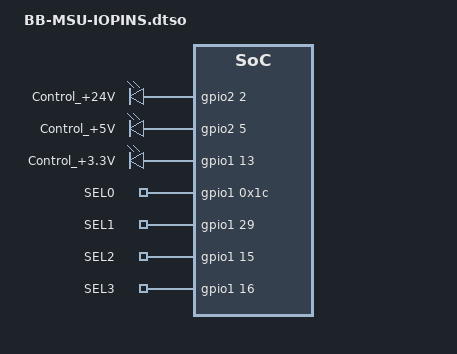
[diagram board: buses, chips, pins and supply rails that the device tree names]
// SPDX-License-Identifier: GPL-2.0-only
/*
 * Copyright (C) 2015 Robert Nelson <robertcnelson@gmail.com>
 * Copyright (C) 2019 Amilcar Lucas <amilcar.lucas@iav.de>
 * Copyright (c) 2026 David Dudley <dudleyd@frib.msu.edu>
 * Revisions:
 * 1. Started as io-pins
 * 2. Convert to Fragment format
 * 3. Incorporate new I/O pins structure
 *
 *  *
 * DT Overlay for GPIOs
 * P8.07 (24VON) [AD24],
 * P8.09 (5VON) [AE24],
 * P8.11 (3V3ON) [AB24],
 * P8.15 (SEL2) [AB29],
 * P8.26 (SEL1) [AC27],
 * P9.12 (SEL0) [AE27],
 * & P9.15 (SEL3) [AD25],
 *  GPIOs are enabled with this overlay.
 * Make sure the IO pins you are enabling are not being used by any other overlay.
 *
 * In addition, the SPI channels that are needed will eventually be incorporated into this
 *
 * SPI Definitions as defined in this overlay
 *
 * SPI0 - no clk or d0 pins.
 *  spi0.d1 = P9.17(0)
 *  spi0.cs0 = P8.33(0)
 *  spi0.cs2 = P9.42(2)
 *  spi0.cs3 = P9.27(2)
 *
 * SPI1 - no cs available on P8/P9.  Available on mikrobus connector
 *  spi1.clk = P9.26(0)
 *  spi1.d0 = P9.24(0)
 *  spi1.d1 = P9.18(0)
 *
 * Only certain combinations are valid
 */

/dts-v1/;
/plugin/;

#include <dt-bindings/gpio/gpio.h>
#include <dt-bindings/pinctrl/am33xx.h>


/ {
	/*
	* Helper to show loaded overlays under: /proc/device-tree/chosen/overlays/
	*/
	fragment@0 {
		target-path = "/chosen";

		__overlay__ {

			overlays {
				BB-MSU-IOPINS.kernel = "Wed Jul  8 14:33:52 2026";
			};
		};
	};


/*
 * Free up the pins used by the cape from the pinmux helpers.
 */
	fragment@1 {
		target = <&ocp>;

		__overlay__ {
			// Power Control pins
			P8_7_pinmux {status = "disabled";};       // P8_7 (R7): gpmc_advn_ale.gpio2_3
			P8_9_pinmux {status = "disabled";};       // P8_9 (R9): gpmc_ad6.gpio1_6
			P8_11_pinmux {status = "disabled";};      // P8_11 (R8): gpmc_ad2.gpio1_2
			// Device Selection Pins
			P9_12_pinuux {status = "disabled";};      // P9_12 (U18): gpmc_beN1.gpio1_28
			P8_26_pinmux {status = "disabled";};      // P8_26 (V6): gpmc_csN0.gpio1_29
			P8_15_pinmux {status = "disabled";};      // P8_15 (U13): gpmc_ad15.gpio1_15
			P9_15_pinmux {status = "disabled";};      // P9_15 (R13): gpmc_a0.gpio1_16
		};
	};

	fragment@2 {
		target = <&am33xx_pinmux>;

		__overlay__
		{
			bb_msu_iopins: pinmux_bb_msu_iopins
			{
				pinctrl-single,pins = <
					/* Power output control pins */
					AM33XX_PADCONF(AM335X_PIN_GPMC_ADVN_ALE, PIN_OUTPUT_PULLDOWN, MUX_MODE7)	/* P8_7: +3.3V ON */
					AM33XX_PADCONF(AM335X_PIN_GPMC_BEN0_CLE, PIN_OUTPUT_PULLDOWN, MUX_MODE7)	/* P8_3: +24V ON */
					AM33XX_PADCONF(AM335X_PIN_GPMC_AD13, PIN_OUTPUT_PULLDOWN, MUX_MODE7)		/* P8_5: +5V ON */
					/* Device Selection Pins */
					AM33XX_PADCONF(AM335X_PIN_GPMC_BEN1, PIN_OUTPUT_PULLUP, MUX_MODE7)			/* SEL0 */
					AM33XX_PADCONF(AM335X_PIN_GPMC_CSN0, PIN_OUTPUT_PULLUP, MUX_MODE7)			/* SEL1 */
					AM33XX_PADCONF(AM335X_PIN_GPMC_AD15, PIN_OUTPUT_PULLUP, MUX_MODE7)			/* SEL2 */
					AM33XX_PADCONF(AM335X_PIN_GPMC_A0, PIN_OUTPUT_PULLUP, MUX_MODE7)			/* SEL3 */
				>;
			};
		};
	};

	fragment@3 {
		target-path = "/";

		__overlay__ {

			leds {
				pinctrl-names = "default";
				pinctrl-0 = <0x01>;
				compatible = "gpio-leds";

				24VON
				{
					label = "Control_+24V";
					gpios = <&gpio2 2 GPIO_ACTIVE_HIGH>;
					default-state = "off";
				};

				5VON
				{
					label = "Control_+5V";
					gpios = <&gpio2 5 GPIO_ACTIVE_HIGH>;
					default-state = "off";
				};

				3V3ON
				{
					label = "Control_+3.3V";
					gpios = <&gpio1 13 GPIO_ACTIVE_HIGH>;
					default-state = "off";
				};

				SEL0
				{
					label = "SEL0";
					gpios = <&gpio1 0x1c 0x00>;
					default-state = "on";
				};

				SEL1
				{
					label = "SEL1";
					gpios = <&gpio1 29 GPIO_ACTIVE_HIGH>;
					default-state = "on";
				};

				SEL2
				{
					label = "SEL2";
					gpios = <&gpio1 15 GPIO_ACTIVE_HIGH>;
					default-state = "on";
				};

				SEL3
				{
					label = "SEL3";
					gpios = <&gpio1 16 GPIO_ACTIVE_HIGH>;
					default-state = "on";
				};
			};
		};
	};
};
